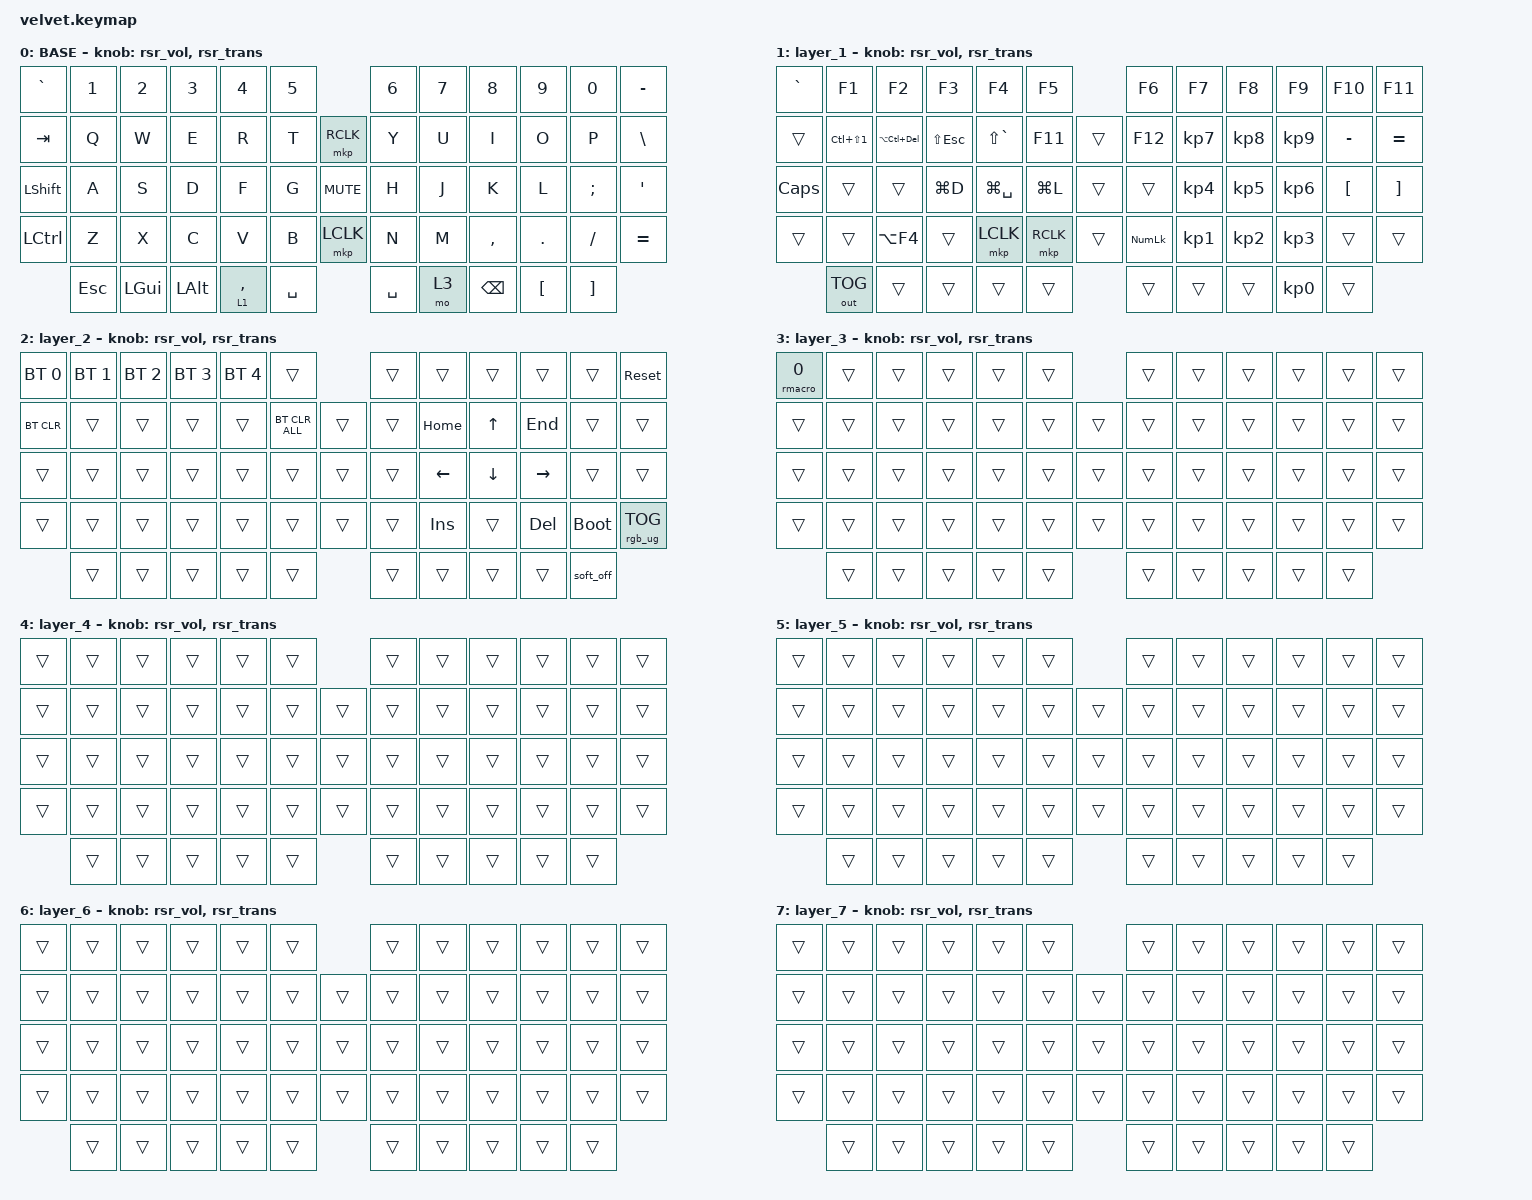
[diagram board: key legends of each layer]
#define BASE 0
#define LOWER 1
#define MOUSE_KEYS 2
#define MOUSE_TP 3
#define MOUSE_TP_SET 4

#include <zephyr/dt-bindings/input/input-event-codes.h>
#include <input/processors.dtsi>
#include <behaviors/runtime-sensor-rotate.dtsi>
#include <behaviors/runtime_macro.dtsi>
#include <behaviors.dtsi>
#include <dt-bindings/zmk/bt.h>
#include <dt-bindings/zmk/keys.h>
#include <dt-bindings/zmk/outputs.h>
#include <dt-bindings/zmk/pointing.h>
#include <dt-bindings/zmk/rgb.h>

&mmv_input_listener { input-processors = <&zip_xy_scaler 2 1>; };

&msc_input_listener { input-processors = <&zip_scroll_scaler 2 1>; };

&lt {
    tapping-term-ms = <100>;
    flavor = "hold-preferred";
};

&msc {
    acceleration-exponent = <1>;      // 0
    time-to-max-speed-ms = <100>;       // 300
    delay-ms = <0>;                   // 0
};

&mmv {
    time-to-max-speed-ms = <500>;
    acceleration-exponent = <1>;
    trigger-period-ms = <16>;
};

/ {
    scroll_encoder: scroll_encoder {
        compatible = "zmk,behavior-sensor-rotate";
        #sensor-binding-cells = <0>;
        bindings = <&msc SCRL_UP>, <&msc SCRL_DOWN>;

        tap-ms = <100>;
    };

    behaviors {
        ltq: ltq {
            compatible = "zmk,behavior-hold-tap";
            label = "LTQ";
            bindings = <&mo>, <&kp>;

            #binding-cells = <2>;
            tapping-term-ms = <200>;
            quick-tap-ms = <180>;
        };

        rsr_vol: rsr_vol {
            compatible = "zmk,behavior-runtime-sensor-rotate";
            #sensor-binding-cells = <0>;
            tap-ms = <5>;
            cw-binding = <&kp C_VOL_UP>;
            ccw-binding = <&kp C_VOL_DN>;
        };
    };

    combos {
        compatible = "zmk,combos";

        flash {
            bindings = <&bootloader>;
            key-positions = <0 11>;
        };
    };

    keymap {
        compatible = "zmk,keymap";

        BASE {
            bindings = <
&kp GRAVE       &kp N1      &kp N2    &kp N3        &kp N4       &kp N5                 &kp NUMBER_6  &kp N7  &kp N8         &kp N9            &kp N0             &kp MINUS
&kp TAB         &kp Q       &kp W     &kp E         &kp R        &kp T      &mkp RCLK   &kp Y         &kp U   &kp I          &kp O             &kp P              &kp BSLH
&kp LEFT_SHIFT  &kp A       &kp S     &kp D         &kp F        &kp G      &kp C_MUTE  &kp H         &kp J   &kp K          &kp L             &kp SEMI           &kp APOS
&kp LCTRL       &kp Z       &kp X     &kp C         &kp V        &kp B      &mkp LCLK   &kp N         &kp M   &kp COMMA      &kp PERIOD        &kp SLASH          &kp EQUAL
                &kp ESCAPE  &kp LGUI  &kp LEFT_ALT  &lt 1 COMMA  &kp SPACE              &kp SPACE     &mo 3   &kp BACKSPACE  &kp LEFT_BRACKET  &kp RIGHT_BRACKET
            >;

            label = "BASE";
            sensor-bindings = <&rsr_vol &rsr_trans>;
        };

        layer_1 {
            bindings = <
&kp GRAVE     &kp F1                &kp F2              &kp F3          &kp F4         &kp F5             &kp F6          &kp F7           &kp F8           &kp F9           &kp F10           &kp F11
&trans        &kp LC(LS(NUMBER_1))  &kp LA(LC(DELETE))  &kp LS(ESCAPE)  &kp LS(GRAVE)  &kp F11    &trans  &kp F12         &kp KP_NUMBER_7  &kp KP_N8        &kp KP_NUMBER_9  &kp MINUS         &kp EQUAL
&kp CAPSLOCK  &trans                &trans              &kp LG(D)       &kp LG(SPACE)  &kp LG(L)  &trans  &trans          &kp KP_NUMBER_4  &kp KP_N5        &kp KP_NUMBER_6  &kp LEFT_BRACKET  &kp RIGHT_BRACKET
&trans        &trans                &kp LA(F4)          &trans          &mkp LCLK      &mkp RCLK  &trans  &kp KP_NUMLOCK  &kp KP_NUMBER_1  &kp KP_NUMBER_2  &kp KP_NUMBER_3  &trans            &trans
              &out OUT_TOG          &trans              &trans          &trans         &trans             &trans          &trans           &trans           &kp KP_NUMBER_0  &trans
            >;

            sensor-bindings = <&rsr_vol &rsr_trans>;
        };

        layer_2 {
            bindings = <
&bt BT_SEL 0  &bt BT_SEL 1  &bt BT_SEL 2  &bt BT_SEL 3  &bt BT_SEL 4  &trans                  &trans  &trans      &trans        &trans      &trans       &sys_reset
&bt BT_CLR    &trans        &trans        &trans        &trans        &bt BT_CLR_ALL  &trans  &trans  &kp HOME    &kp UP_ARROW  &kp END     &trans       &trans
&trans        &trans        &trans        &trans        &trans        &trans          &trans  &trans  &kp LEFT    &kp DOWN      &kp RIGHT   &trans       &trans
&trans        &trans        &trans        &trans        &trans        &trans          &trans  &trans  &kp INSERT  &trans        &kp DELETE  &bootloader  &rgb_ug RGB_TOG
              &trans        &trans        &trans        &trans        &trans                  &trans  &trans      &trans        &trans      &soft_off
            >;

            sensor-bindings = <&rsr_vol &rsr_trans>;
        };

        layer_3 {
            bindings = <
&rmacro 0  &trans  &trans  &trans  &trans  &trans          &trans  &trans  &trans  &trans  &trans  &trans
&trans     &trans  &trans  &trans  &trans  &trans  &trans  &trans  &trans  &trans  &trans  &trans  &trans
&trans     &trans  &trans  &trans  &trans  &trans  &trans  &trans  &trans  &trans  &trans  &trans  &trans
&trans     &trans  &trans  &trans  &trans  &trans  &trans  &trans  &trans  &trans  &trans  &trans  &trans
           &trans  &trans  &trans  &trans  &trans          &trans  &trans  &trans  &trans  &trans
            >;

            sensor-bindings = <&rsr_vol &rsr_trans>;
        };

        layer_4 {
            bindings = <
&trans  &trans  &trans  &trans  &trans  &trans          &trans  &trans  &trans  &trans  &trans  &trans
&trans  &trans  &trans  &trans  &trans  &trans  &trans  &trans  &trans  &trans  &trans  &trans  &trans
&trans  &trans  &trans  &trans  &trans  &trans  &trans  &trans  &trans  &trans  &trans  &trans  &trans
&trans  &trans  &trans  &trans  &trans  &trans  &trans  &trans  &trans  &trans  &trans  &trans  &trans
        &trans  &trans  &trans  &trans  &trans          &trans  &trans  &trans  &trans  &trans
            >;

            sensor-bindings = <&rsr_vol &rsr_trans>;
        };

        layer_5 {
            bindings = <
&trans  &trans  &trans  &trans  &trans  &trans          &trans  &trans  &trans  &trans  &trans  &trans
&trans  &trans  &trans  &trans  &trans  &trans  &trans  &trans  &trans  &trans  &trans  &trans  &trans
&trans  &trans  &trans  &trans  &trans  &trans  &trans  &trans  &trans  &trans  &trans  &trans  &trans
&trans  &trans  &trans  &trans  &trans  &trans  &trans  &trans  &trans  &trans  &trans  &trans  &trans
        &trans  &trans  &trans  &trans  &trans          &trans  &trans  &trans  &trans  &trans
            >;

            sensor-bindings = <&rsr_vol &rsr_trans>;
        };

        layer_6 {
            bindings = <
&trans  &trans  &trans  &trans  &trans  &trans          &trans  &trans  &trans  &trans  &trans  &trans
&trans  &trans  &trans  &trans  &trans  &trans  &trans  &trans  &trans  &trans  &trans  &trans  &trans
&trans  &trans  &trans  &trans  &trans  &trans  &trans  &trans  &trans  &trans  &trans  &trans  &trans
&trans  &trans  &trans  &trans  &trans  &trans  &trans  &trans  &trans  &trans  &trans  &trans  &trans
        &trans  &trans  &trans  &trans  &trans          &trans  &trans  &trans  &trans  &trans
            >;

            sensor-bindings = <&rsr_vol &rsr_trans>;
        };

        layer_7 {
            bindings = <
&trans  &trans  &trans  &trans  &trans  &trans          &trans  &trans  &trans  &trans  &trans  &trans
&trans  &trans  &trans  &trans  &trans  &trans  &trans  &trans  &trans  &trans  &trans  &trans  &trans
&trans  &trans  &trans  &trans  &trans  &trans  &trans  &trans  &trans  &trans  &trans  &trans  &trans
&trans  &trans  &trans  &trans  &trans  &trans  &trans  &trans  &trans  &trans  &trans  &trans  &trans
        &trans  &trans  &trans  &trans  &trans          &trans  &trans  &trans  &trans  &trans
            >;

            sensor-bindings = <&rsr_vol &rsr_trans>;
        };
    };
};
